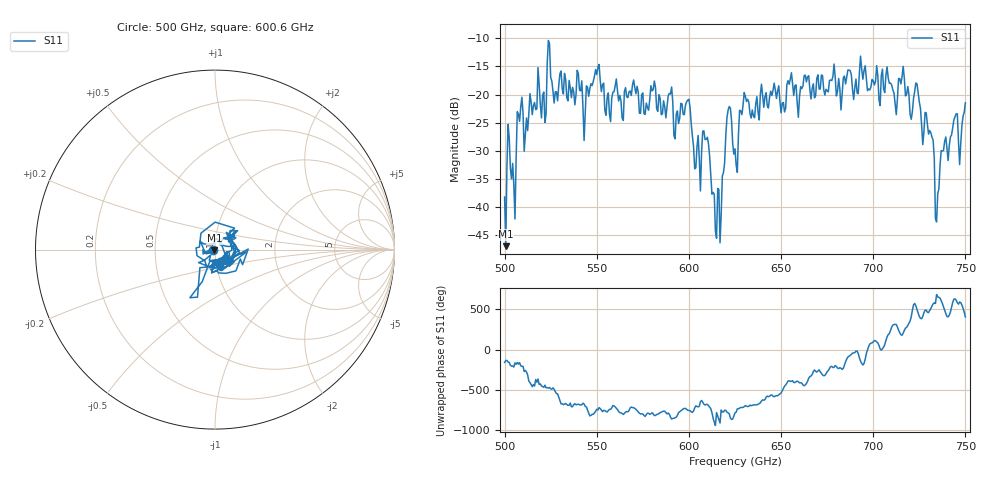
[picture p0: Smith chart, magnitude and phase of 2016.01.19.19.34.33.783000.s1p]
!Created with skrf (http://scikit-rf.org).
# GHz S RI R 50.0
!freq ReS11 ImS11
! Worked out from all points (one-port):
!   401 points, 500 GHz to 750 GHz, reference 50 ohm
!   lowest |S11| = -46.9 dB at 500.6 GHz (marker M1), VSWR 1.01, Z = 49.7 - j0.309 ohm
!   |S11| at or under -10 dB: start of sweep to end of sweep
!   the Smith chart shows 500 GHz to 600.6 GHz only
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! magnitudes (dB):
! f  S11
! 500 GHz  -38.2
! 500.6 GHz  -46.9
! 503.1 GHz  -33.1
! 505 GHz  -36.1
! 508.1 GHz  -24.8
! 521.2 GHz  -19.5
! 524.4 GHz  -11.0
! 527.5 GHz  -19.5
! 531.2 GHz  -19.0
! 550 GHz  -16.4
! 562.5 GHz  -20.2
! 580.6 GHz  -19.1
! 593.8 GHz  -22.9
! 599.4 GHz  -21.0
! 605 GHz  -27.3
! 609.4 GHz  -28.0
! 615.6 GHz  -36.7
! 621.2 GHz  -22.8
! 625 GHz  -29.6
! 630.6 GHz  -20.3
! 656.2 GHz  -18.1
! 687.5 GHz  -15.7
! 718.8 GHz  -18.6
! 729.4 GHz  -25.2
! 735 GHz  -37.6
! 738.1 GHz  -29.9
! 747.5 GHz  -28.6
! 750 GHz  -21.5
